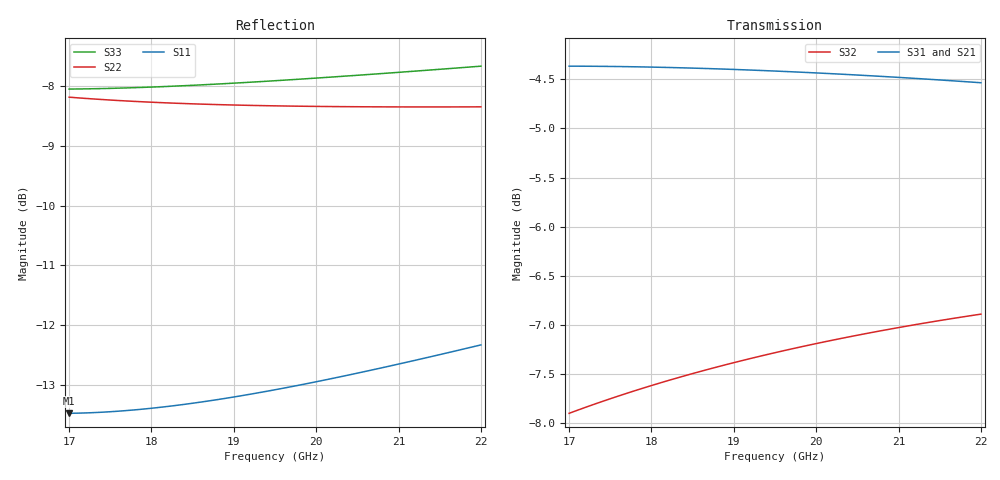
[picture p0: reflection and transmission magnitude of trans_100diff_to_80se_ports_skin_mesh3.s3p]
#  GHZ S DB R 50.0
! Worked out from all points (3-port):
!   51 points, 17 GHz to 22 GHz, reference 50 ohm
!   strongest paths, dB at 17 GHz, 18.2 GHz, 19.5 GHz, 20.8 GHz, 22 GHz:
!     S31: -4.4, -4.4, -4.4, -4.5, -4.5
!     S21: -4.5, -4.5, -4.5, -4.5, -4.5
!     S32: -7.9, -7.6, -7.3, -7.1, -6.9
!   lowest |S11| = -13.5 dB at 17 GHz (marker M1), VSWR 1.54, Z = 75.5 + j7.8 ohm
!   |S11| at or under -10 dB: start of sweep to end of sweep
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17  -13.47 13.5  -4.54 -174.4  -4.37 5.3
    -4.54 -174.4  -8.18 94.9  -7.90 72.8
    -4.37 5.3  -7.90 72.8  -8.05 91.9
17.3  -13.46 9.5  -4.52 -176.6  -4.37 3.3
      -4.52 -176.6  -8.21 92.0  -7.81 70.7
      -4.37 3.3  -7.81 70.7  -8.04 89.1
17.6  -13.44 5.8  -4.51 -178.7  -4.37 1.3
      -4.51 -178.7  -8.24 89.2  -7.72 68.8
      -4.37 1.3  -7.72 68.8  -8.03 86.4
18.2  -13.36 -1.4  -4.49 177.1  -4.38 -2.7
      -4.49 177.1  -8.28 84.0  -7.57 65.0
      -4.38 -2.7  -7.57 65.0  -8.00 81.3
18.8  -13.24 -8.1  -4.48 173.1  -4.39 -6.5
      -4.48 173.1  -8.31 79.1  -7.43 61.3
      -4.39 -6.5  -7.43 61.3  -7.96 76.6
19.5  -13.08 -15.4  -4.47 168.6  -4.42 -10.7
      -4.47 168.6  -8.33 73.9  -7.28 57.3
      -4.42 -10.7  -7.28 57.3  -7.91 71.5
20.1  -12.92 -21.2  -4.47 164.8  -4.44 -14.3
      -4.47 164.8  -8.34 69.7  -7.17 54.0
      -4.44 -14.3  -7.17 54.0  -7.85 67.5
20.7  -12.74 -26.6  -4.47 161.2  -4.47 -17.7
      -4.47 161.2  -8.34 65.9  -7.07 50.8
      -4.47 -17.7  -7.07 50.8  -7.80 63.7
21.3  -12.56 -31.8  -4.47 157.6  -4.50 -21.1
      -4.47 157.6  -8.35 62.3  -6.98 47.8
      -4.50 -21.1  -6.98 47.8  -7.74 60.2
22  -12.33 -37.4  -4.48 153.5  -4.54 -24.9
    -4.48 153.5  -8.34 58.4  -6.89 44.3
    -4.54 -24.9  -6.89 44.3  -7.66 56.4
